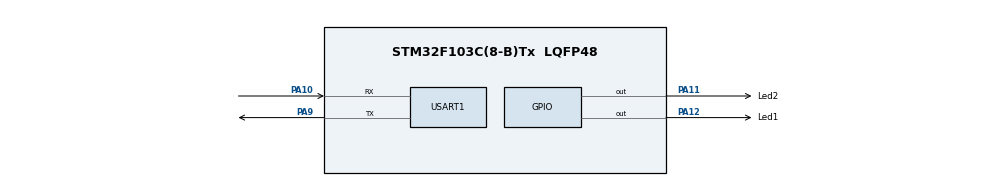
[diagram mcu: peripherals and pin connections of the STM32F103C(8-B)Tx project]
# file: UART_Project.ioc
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Mcu.Family=STM32F1
Mcu.Name=STM32F103C(8-B)Tx
Mcu.Package=LQFP48
NVIC.PriorityGroup=NVIC_PRIORITYGROUP_4
NVIC.USART1_IRQn=true\:0\:0\:false\:false\:true\:true\:true\:true
PA10.Mode=Asynchronous
PA10.Signal=USART1_RX
PA11.GPIO_Label=Led2
PA11.Signal=GPIO_Output
PA12.GPIO_Label=Led1
PA12.Signal=GPIO_Output
PA13.Mode=Serial_Wire
PA13.Signal=SYS_JTMS-SWDIO
PA14.Mode=Serial_Wire
PA14.Signal=SYS_JTCK-SWCLK
PA9.Mode=Asynchronous
PA9.Signal=USART1_TX
PD0-OSC_IN.Mode=HSE-External-Oscillator
PD0-OSC_IN.Signal=RCC_OSC_IN
PD1-OSC_OUT.Mode=HSE-External-Oscillator
PD1-OSC_OUT.Signal=RCC_OSC_OUT
ProjectManager.HeapSize=0x200
ProjectManager.StackSize=0x400
ProjectManager.TargetToolchain=MDK-ARM V5.32
RCC.APB1Freq_Value=8000000
RCC.APB2Freq_Value=8000000
RCC.SYSCLKSource=RCC_SYSCLKSOURCE_HSE
USART1.VirtualMode=VM_ASYNC
board=custom

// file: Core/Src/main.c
/* USER CODE BEGIN Header */
/**
  ******************************************************************************
  * @file           : main.c
  * @brief          : Main program body
  ******************************************************************************
  * @attention
  *
  * Copyright (c) 2025 STMicroelectronics.
  * All rights reserved.
  *
  * This software is licensed under terms that can be found in the LICENSE file
  * in the root directory of this software component.
  * If no LICENSE file comes with this software, it is provided AS-IS.
  *
  ******************************************************************************
  */
/* USER CODE END Header */
#include "main.h"
#include "stdio.h"
#include "string.h"

UART_HandleTypeDef huart1;
uint8_t rx_data;
char rx_buffer[20];
uint8_t rx_index = 0;
uint8_t led1_blink = 0;
uint8_t led2_blink = 0;

void SystemClock_Config(void);
static void MX_GPIO_Init(void);
static void MX_USART1_UART_Init(void);
/* USER CODE BEGIN PFP */

//// H�m g?i UART chu?i k?t th�c
void uart_send_string(const char* msg) {
    HAL_UART_Transmit(&huart1, (uint8_t*)msg, strlen(msg), HAL_MAX_DELAY);
}

// Callback khi nh?n UART
void HAL_UART_RxCpltCallback(UART_HandleTypeDef *huart) {
    if (huart->Instance == USART1) {
        if (rx_data == '\n' || rx_index >= sizeof(rx_buffer) - 1) {
            rx_buffer[rx_index] = '\0';  // k?t th�c chu?i
            rx_index = 0;

            if (strcmp(rx_buffer, "Led 1") == 0) {
								uart_send_string("Led1\r\n");  // gửi lại xác nhận
								led1_blink = 1;
            } else if (strcmp(rx_buffer, "Led 2") == 0) {
								uart_send_string("Led2\r\n");  // gửi lại xác nhận
								led2_blink = 1;

            } else if (strcmp(rx_buffer, "Led 3") == 0) {
                uart_send_string("Complete\r\n");
            }

        } else {
            rx_buffer[rx_index++] = rx_data;
        }

        // Nh?n ti?p k� t? sau
        HAL_UART_Receive_IT(&huart1, &rx_data, 1);
 }
}
/* USER CODE END PFP */

int main(void)
{

  /* MCU Configuration--------------------------------------------------------*/

  /* Reset of all peripherals, Initializes the Flash interface and the Systick. */
  HAL_Init();

  /* Configure the system clock */
  SystemClock_Config();

  /* Initialize all configured peripherals */
  MX_GPIO_Init();
  MX_USART1_UART_Init();
  /* USER CODE BEGIN 2 */
	HAL_UART_Receive_IT(&huart1, &rx_data, 1);
  /* USER CODE END 2 */

  /* Infinite loop */
  while (1)
  {
		if (led1_blink) {
			led2_blink = 0;
			HAL_GPIO_TogglePin(Led1_GPIO_Port, Led1_Pin);
			HAL_Delay(500);
			HAL_GPIO_WritePin(Led2_GPIO_Port,Led2_Pin,0);
    }
		if (led2_blink) {
			led1_blink = 0;
			HAL_GPIO_TogglePin(Led2_GPIO_Port, Led2_Pin);
			HAL_Delay(2000);
			HAL_GPIO_WritePin(Led1_GPIO_Port,Led1_Pin,0);
    }

//		HAL_GPIO_WritePin(Led1_GPIO_Port, Led1_Pin, 0);
//		HAL_GPIO_WritePin(Led2_GPIO_Port, Led2_Pin, 0);
//		HAL_Delay(500);
//		HAL_GPIO_WritePin(Led1_GPIO_Port, Led1_Pin, 1);
//		HAL_GPIO_WritePin(Led2_GPIO_Port, Led2_Pin, 1);
//		HAL_Delay(500);
  }
}

void SystemClock_Config(void)
{
  RCC_OscInitTypeDef RCC_OscInitStruct = {0};
  RCC_ClkInitTypeDef RCC_ClkInitStruct = {0};

  /** Initializes the RCC Oscillators according to the specified parameters
  * in the RCC_OscInitTypeDef structure.
  */
  RCC_OscInitStruct.OscillatorType = RCC_OSCILLATORTYPE_HSE;
  RCC_OscInitStruct.HSEState = RCC_HSE_ON;
  RCC_OscInitStruct.PLL.PLLState = RCC_PLL_NONE;
  if (HAL_RCC_OscConfig(&RCC_OscInitStruct) != HAL_OK)
  {
    Error_Handler();
  }

  /** Initializes the CPU, AHB and APB buses clocks
  */
  RCC_ClkInitStruct.ClockType = RCC_CLOCKTYPE_HCLK|RCC_CLOCKTYPE_SYSCLK
                              |RCC_CLOCKTYPE_PCLK1|RCC_CLOCKTYPE_PCLK2;
  RCC_ClkInitStruct.SYSCLKSource = RCC_SYSCLKSOURCE_HSE;
  RCC_ClkInitStruct.AHBCLKDivider = RCC_SYSCLK_DIV1;
  RCC_ClkInitStruct.APB1CLKDivider = RCC_HCLK_DIV1;
  RCC_ClkInitStruct.APB2CLKDivider = RCC_HCLK_DIV1;

  if (HAL_RCC_ClockConfig(&RCC_ClkInitStruct, FLASH_LATENCY_0) != HAL_OK)
  {
    Error_Handler();
  }
}

static void MX_USART1_UART_Init(void)
{

  huart1.Instance = USART1;
  huart1.Init.BaudRate = 115200;
  huart1.Init.WordLength = UART_WORDLENGTH_8B;
  huart1.Init.StopBits = UART_STOPBITS_1;
  huart1.Init.Parity = UART_PARITY_NONE;
  huart1.Init.Mode = UART_MODE_TX_RX;
  huart1.Init.HwFlowCtl = UART_HWCONTROL_NONE;
  huart1.Init.OverSampling = UART_OVERSAMPLING_16;
  if (HAL_UART_Init(&huart1) != HAL_OK)
  {
    Error_Handler();
  }

}

static void MX_GPIO_Init(void)
{
  GPIO_InitTypeDef GPIO_InitStruct = {0};

  /* GPIO Ports Clock Enable */
  __HAL_RCC_GPIOD_CLK_ENABLE();
  __HAL_RCC_GPIOA_CLK_ENABLE();

  /*Configure GPIO pin Output Level */
  HAL_GPIO_WritePin(GPIOA, Led2_Pin|Led1_Pin, GPIO_PIN_RESET);

  /*Configure GPIO pins : Led2_Pin Led1_Pin */
  GPIO_InitStruct.Pin = Led2_Pin|Led1_Pin;
  GPIO_InitStruct.Mode = GPIO_MODE_OUTPUT_PP;
  GPIO_InitStruct.Pull = GPIO_NOPULL;
  GPIO_InitStruct.Speed = GPIO_SPEED_FREQ_LOW;
  HAL_GPIO_Init(GPIOA, &GPIO_InitStruct);

}

void Error_Handler(void)
{
  __disable_irq();
  while (1)
  {
  }
}
